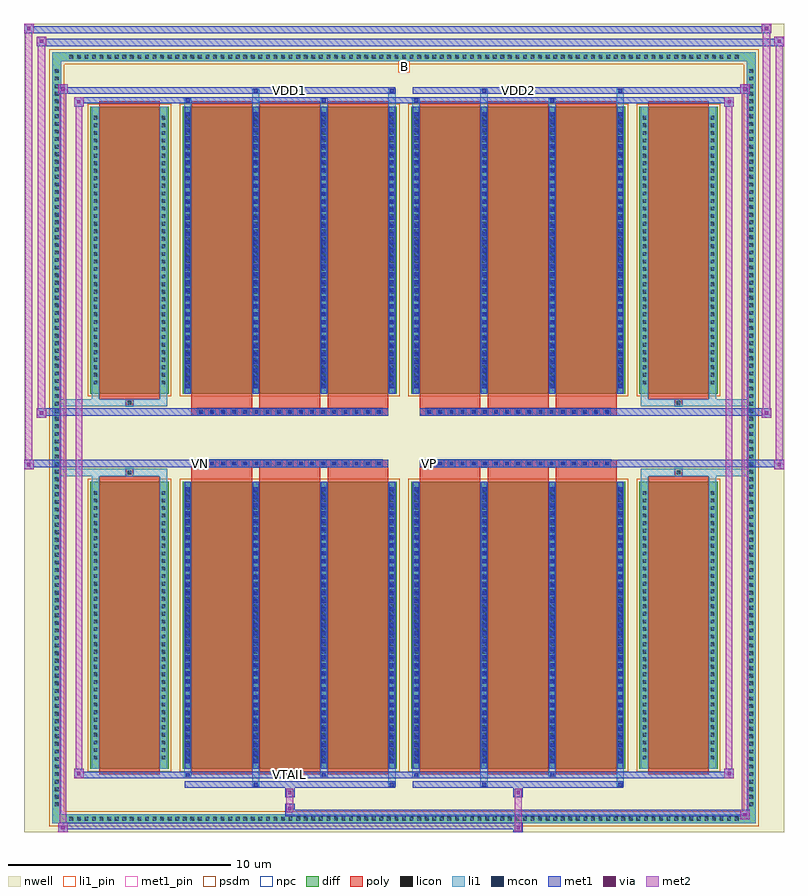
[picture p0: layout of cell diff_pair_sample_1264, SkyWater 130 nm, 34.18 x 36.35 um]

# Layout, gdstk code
import gdstk
lib = gdstk.Library(unit=1e-6, precision=5e-09)
def R(c, l, rs):  # rectangles x0, y0, x1, y1
    for r in rs: c.add(gdstk.rectangle(r[:2], r[2:], *l))
def A(c, l, x, y, w, h, nx, ny, dx, dy):  # array of equal rectangles
    R(c, l, [(x+i*dx, y+j*dy, x+i*dx+w, y+j*dy+h) for i in range(nx) for j in range(ny)])
def P(c, l, *ps):  # polygons
    for p in ps: c.add(gdstk.Polygon(p, *l))
nwell = (64, 20)
diff = (65, 20)
poly = (66, 20)
licon = (66, 44)
li1_pin = (67, 16)
li1 = (67, 20)
mcon = (67, 44)
met1_pin = (68, 16)
met1 = (68, 20)
via = (68, 44)
met2 = (69, 20)
psdm = (94, 20)
npc = (95, 20)

diff_pair_sample_1264 = lib.new_cell('diff_pair_sample_1264')
R(diff_pair_sample_1264, nwell, [(-17.09,-17.74,17.09,18.61), (-14.41,-15.93,-0.01,-0.795), (0.01,-15.93,14.41,-0.795), (-14.41,0.795,-0.01,15.93), (0.01,0.795,14.41,15.93)])
A(diff_pair_sample_1264, diff, -15.165, -17.34, 0.41, 0.41, 89, 2, 0.34, 34.27)
A(diff_pair_sample_1264, diff, -15.82, -16.695, 0.41, 0.41, 1, 98, 0, 0.34)
A(diff_pair_sample_1264, diff, 15.41, -16.695, 0.41, 0.41, 1, 98, 0, 0.34)
R(diff_pair_sample_1264, diff, [(-15.165,-17.34,15.165,-16.93), (-15.82,-16.695,-15.41,16.695), (15.41,-16.695,15.82,16.695), (-14.1,-14.885,-10.59,-1.985), (-9.95,-14.885,-0.32,-1.985), (0.32,-14.885,9.95,-1.985), (10.59,-14.885,14.1,-1.985), (-14.1,1.985,-10.59,14.885), (-9.95,1.985,-0.32,14.885), (0.32,1.985,9.95,14.885), (10.59,1.985,14.1,14.885), (-15.165,16.93,15.165,17.34)])
P(diff_pair_sample_1264, diff, [(15.82,17.34),(-15.82,17.34),(-15.82,-16.93),(-15.41,-16.93),(-15.41,16.93),(15.41,16.93),(15.41,-16.93),(-15.41,-16.93),(-15.82,-16.93),(-15.82,-17.34),(15.82,-17.34)])
A(diff_pair_sample_1264, poly, -9.56, -15.135, 2.73, 13.4, 3, 2, 3.06, 16.87)
A(diff_pair_sample_1264, poly, 0.71, -15.135, 2.73, 13.4, 3, 2, 3.06, 16.87)
A(diff_pair_sample_1264, poly, -9.56, -1.735, 2.73, 0.41, 3, 2, 3.06, 3.06)
A(diff_pair_sample_1264, poly, 0.71, -1.735, 2.73, 0.41, 3, 2, 3.06, 3.06)
A(diff_pair_sample_1264, poly, -9.3, -1.325, 0.33, 0.33, 17, 2, 0.5, 2.32)
A(diff_pair_sample_1264, poly, 0.97, -1.325, 0.33, 0.33, 17, 2, 0.5, 2.32)
R(diff_pair_sample_1264, poly, [(-13.71,-15.135,-10.98,-1.735), (10.98,-15.135,13.71,-1.735), (-12.51,-1.735,-12.18,-1.405), (-12.51,-1.735,-12.18,-1.405), (12.18,-1.735,12.51,-1.405), (12.18,-1.735,12.51,-1.405), (-9.56,-1.325,-0.71,-0.995), (0.71,-1.325,9.56,-0.995), (-9.56,0.995,-0.71,1.325), (0.71,0.995,9.56,1.325), (-12.51,1.405,-12.18,1.735), (-12.51,1.405,-12.18,1.735), (12.18,1.405,12.51,1.735), (12.18,1.405,12.51,1.735), (-13.71,1.735,-10.98,15.135), (10.98,1.735,13.71,15.135)])
A(diff_pair_sample_1264, licon, -15.045, -17.22, 0.17, 0.17, 89, 2, 0.34, 34.27)
A(diff_pair_sample_1264, licon, -15.7, -16.575, 0.17, 0.17, 1, 98, 0, 0.34)
A(diff_pair_sample_1264, licon, 15.53, -16.575, 0.17, 0.17, 1, 98, 0, 0.34)
A(diff_pair_sample_1264, licon, -13.96, -14.47, 0.17, 0.17, 1, 36, 0, 0.34)
A(diff_pair_sample_1264, licon, -10.9, -14.47, 0.17, 0.17, 1, 36, 0, 0.34)
A(diff_pair_sample_1264, licon, -9.81, -14.47, 0.17, 0.17, 4, 36, 3.06, 0.34)
A(diff_pair_sample_1264, licon, 0.46, -14.47, 0.17, 0.17, 4, 36, 3.06, 0.34)
A(diff_pair_sample_1264, licon, 10.73, -14.47, 0.17, 0.17, 1, 36, 0, 0.34)
A(diff_pair_sample_1264, licon, 13.79, -14.47, 0.17, 0.17, 1, 36, 0, 0.34)
A(diff_pair_sample_1264, licon, -9.22, -1.245, 0.17, 0.17, 17, 2, 0.5, 2.32)
A(diff_pair_sample_1264, licon, 1.05, -1.245, 0.17, 0.17, 17, 2, 0.5, 2.32)
A(diff_pair_sample_1264, licon, -13.96, 2.4, 0.17, 0.17, 1, 36, 0, 0.34)
A(diff_pair_sample_1264, licon, -10.9, 2.4, 0.17, 0.17, 1, 36, 0, 0.34)
A(diff_pair_sample_1264, licon, -9.81, 2.4, 0.17, 0.17, 4, 36, 3.06, 0.34)
A(diff_pair_sample_1264, licon, 0.46, 2.4, 0.17, 0.17, 4, 36, 3.06, 0.34)
A(diff_pair_sample_1264, licon, 10.73, 2.4, 0.17, 0.17, 1, 36, 0, 0.34)
A(diff_pair_sample_1264, licon, 13.79, 2.4, 0.17, 0.17, 1, 36, 0, 0.34)
R(diff_pair_sample_1264, licon, [(-12.43,-1.655,-12.26,-1.485), (12.26,-1.655,12.43,-1.485), (-12.43,1.485,-12.26,1.655), (12.26,1.485,12.43,1.655)])
R(diff_pair_sample_1264, li1_pin, [(-0.25,16.43,0.25,16.93)])
A(diff_pair_sample_1264, li1, -15.125, -17.3, 0.33, 0.33, 89, 2, 0.34, 34.27)
A(diff_pair_sample_1264, li1, -15.78, -16.655, 0.33, 0.33, 1, 98, 0, 0.34)
A(diff_pair_sample_1264, li1, 15.45, -16.655, 0.33, 0.33, 1, 98, 0, 0.34)
A(diff_pair_sample_1264, li1, -9.89, -14.885, 0.33, 12.9, 4, 2, 3.06, 16.87)
A(diff_pair_sample_1264, li1, 0.38, -14.885, 0.33, 12.9, 4, 2, 3.06, 16.87)
A(diff_pair_sample_1264, li1, -9.81, -14.64, 0.17, 0.17, 4, 35, 3.06, 0.36)
A(diff_pair_sample_1264, li1, -9.81, -14.64, 0.17, 12.41, 4, 2, 3.06, 16.87)
A(diff_pair_sample_1264, li1, 0.46, -14.64, 0.17, 0.17, 4, 35, 3.06, 0.36)
A(diff_pair_sample_1264, li1, 0.46, -14.64, 0.17, 12.41, 4, 2, 3.06, 16.87)
A(diff_pair_sample_1264, li1, -14.04, -14.55, 0.33, 0.33, 1, 36, 0, 0.34)
A(diff_pair_sample_1264, li1, -10.98, -14.55, 0.33, 0.33, 1, 36, 0, 0.34)
A(diff_pair_sample_1264, li1, -9.89, -14.55, 0.33, 0.33, 4, 36, 3.06, 0.34)
A(diff_pair_sample_1264, li1, 0.38, -14.55, 0.33, 0.33, 4, 36, 3.06, 0.34)
A(diff_pair_sample_1264, li1, 10.65, -14.55, 0.33, 0.33, 1, 36, 0, 0.34)
A(diff_pair_sample_1264, li1, 13.71, -14.55, 0.33, 0.33, 1, 36, 0, 0.34)
A(diff_pair_sample_1264, li1, -9.3, -1.325, 0.33, 0.33, 17, 2, 0.5, 2.32)
A(diff_pair_sample_1264, li1, 0.97, -1.325, 0.33, 0.33, 17, 2, 0.5, 2.32)
A(diff_pair_sample_1264, li1, -9.81, 2.23, 0.17, 0.17, 4, 35, 3.06, 0.36)
A(diff_pair_sample_1264, li1, 0.46, 2.23, 0.17, 0.17, 4, 35, 3.06, 0.36)
A(diff_pair_sample_1264, li1, -14.04, 2.32, 0.33, 0.33, 1, 36, 0, 0.34)
A(diff_pair_sample_1264, li1, -10.98, 2.32, 0.33, 0.33, 1, 36, 0, 0.34)
A(diff_pair_sample_1264, li1, -9.89, 2.32, 0.33, 0.33, 4, 36, 3.06, 0.34)
A(diff_pair_sample_1264, li1, 0.38, 2.32, 0.33, 0.33, 4, 36, 3.06, 0.34)
A(diff_pair_sample_1264, li1, 10.65, 2.32, 0.33, 0.33, 1, 36, 0, 0.34)
A(diff_pair_sample_1264, li1, 13.71, 2.32, 0.33, 0.33, 1, 36, 0, 0.34)
R(diff_pair_sample_1264, li1, [(-15.82,-17.34,-15.41,-16.93), (-15.82,-17.34,-15.41,-16.93), (-15.41,-17.34,15.41,-16.93), (15.41,-17.34,15.82,-16.93), (15.41,-17.34,15.82,-16.93), (-15.82,-16.93,-15.41,16.93), (15.41,-16.93,15.82,16.93), (-6.83,-15.69,-6.5,-14.885), (-6.75,-15.69,-6.58,-15.52), (-0.71,-15.69,-0.38,-14.885), (-0.63,-15.69,-0.46,-15.52), (3.44,-15.69,3.77,-14.885), (3.52,-15.69,3.69,-15.52), (9.56,-15.69,9.89,-14.885), (9.64,-15.69,9.81,-15.52), (-9.89,-15.26,-9.56,-14.885), (-9.81,-15.26,-9.64,-15.09), (-3.77,-15.26,-3.44,-14.885), (-3.69,-15.26,-3.52,-15.09), (0.38,-15.26,0.71,-14.885), (0.46,-15.26,0.63,-15.09), (6.5,-15.26,6.83,-14.885), (6.58,-15.26,6.75,-15.09), (-14.04,-14.885,-13.71,-1.985), (-10.98,-14.885,-10.65,-1.985), (10.65,-14.885,10.98,-1.985), (13.71,-14.885,14.04,-1.985), (-14.04,-1.985,-13.71,-1.405), (-10.98,-1.985,-10.65,-1.405), (10.65,-1.985,10.98,-1.405), (13.71,-1.985,14.04,-1.405), (-15.82,-1.735,-12.51,-1.405), (-14.04,-1.735,-12.51,-1.405), (-12.51,-1.735,-12.18,-1.405), (-12.18,-1.735,-10.65,-1.405), (10.65,-1.735,12.18,-1.405), (12.18,-1.735,12.51,-1.405), (12.18,-1.735,15.82,-1.405), (12.51,-1.735,14.04,-1.405), (-15.82,1.405,-12.51,1.735), (-14.04,1.405,-12.51,1.735), (-14.04,1.405,-13.71,1.985), (-12.51,1.405,-12.18,1.735), (-12.18,1.405,-10.65,1.735), (-10.98,1.405,-10.65,1.985), (10.65,1.405,12.18,1.735), (10.65,1.405,10.98,1.985), (12.18,1.405,12.51,1.735), (12.18,1.405,15.82,1.735), (12.51,1.405,14.04,1.735), (13.71,1.405,14.04,1.985), (-14.04,1.985,-13.71,14.885), (-10.98,1.985,-10.65,14.885), (10.65,1.985,10.98,14.885), (13.71,1.985,14.04,14.885), (-9.89,14.885,-9.56,15.26), (-6.83,14.885,-6.5,15.69), (-3.77,14.885,-3.44,15.26), (-0.71,14.885,-0.38,15.69), (0.38,14.885,0.71,15.26), (3.44,14.885,3.77,15.69), (6.5,14.885,6.83,15.26), (9.56,14.885,9.89,15.69), (-9.81,15.09,-9.64,15.26), (-3.69,15.09,-3.52,15.26), (0.46,15.09,0.63,15.26), (6.58,15.09,6.75,15.26), (-6.75,15.52,-6.58,15.69), (-0.63,15.52,-0.46,15.69), (3.52,15.52,3.69,15.69), (9.64,15.52,9.81,15.69), (-15.82,16.93,-15.41,17.34), (-15.82,16.93,-15.41,17.34), (-15.41,16.93,15.41,17.34), (15.41,16.93,15.82,17.34), (15.41,16.93,15.82,17.34)])
A(diff_pair_sample_1264, mcon, -9.81, -14.64, 0.17, 0.17, 4, 35, 3.06, 0.36)
A(diff_pair_sample_1264, mcon, 0.46, -14.64, 0.17, 0.17, 4, 35, 3.06, 0.36)
A(diff_pair_sample_1264, mcon, -9.22, -1.245, 0.17, 0.17, 17, 2, 0.5, 2.32)
A(diff_pair_sample_1264, mcon, 1.05, -1.245, 0.17, 0.17, 17, 2, 0.5, 2.32)
A(diff_pair_sample_1264, mcon, -9.81, 2.23, 0.17, 0.17, 4, 35, 3.06, 0.36)
A(diff_pair_sample_1264, mcon, 0.46, 2.23, 0.17, 0.17, 4, 35, 3.06, 0.36)
R(diff_pair_sample_1264, mcon, [(-6.75,-15.69,-6.58,-15.52), (-0.63,-15.69,-0.46,-15.52), (3.52,-15.69,3.69,-15.52), (9.64,-15.69,9.81,-15.52), (-9.81,-15.26,-9.64,-15.09), (-3.69,-15.26,-3.52,-15.09), (0.46,-15.26,0.63,-15.09), (6.58,-15.26,6.75,-15.09), (-9.81,15.09,-9.64,15.26), (-3.69,15.09,-3.52,15.26), (0.46,15.09,0.63,15.26), (6.58,15.09,6.75,15.26), (-6.75,15.52,-6.58,15.69), (-0.63,15.52,-0.46,15.69), (3.52,15.52,3.69,15.69), (9.64,15.52,9.81,15.69)])
R(diff_pair_sample_1264, met1_pin, [(-5.27,-15.3,-5,-15.03), (-9.27,-1.285,-9,-1.015), (1,-1.285,1.27,-1.015), (-5.27,15.48,-5,15.75), (5,15.48,5.27,15.75)])
A(diff_pair_sample_1264, met1, -9.87, -14.885, 0.29, 12.9, 4, 2, 3.06, 16.87)
A(diff_pair_sample_1264, met1, 0.4, -14.885, 0.29, 12.9, 4, 2, 3.06, 16.87)
A(diff_pair_sample_1264, met1, -9.87, -14.7, 0.29, 0.29, 4, 35, 3.06, 0.36)
A(diff_pair_sample_1264, met1, 0.4, -14.7, 0.29, 0.29, 4, 35, 3.06, 0.36)
A(diff_pair_sample_1264, met1, -9.28, -1.305, 0.29, 0.29, 17, 2, 0.5, 2.32)
A(diff_pair_sample_1264, met1, 0.99, -1.305, 0.29, 0.29, 17, 2, 0.5, 2.32)
A(diff_pair_sample_1264, met1, -9.87, 2.17, 0.29, 0.29, 4, 35, 3.06, 0.36)
A(diff_pair_sample_1264, met1, 0.4, 2.17, 0.29, 0.29, 4, 35, 3.06, 0.36)
R(diff_pair_sample_1264, met1, [(-15.55,-17.74,-15.12,-17.31), (4.92,-17.74,5.35,-17.31), (-15.55,-17.6,5.35,-17.31), (15.12,-17.17,15.55,-16.74), (-5.35,-17.03,15.55,-16.74), (-5.35,-16.89,-4.92,-16.46), (-5.35,-16.18,-4.92,-15.75), (4.92,-16.18,5.35,-15.75), (-9.87,-15.75,-0.4,-15.46), (-6.81,-15.75,-6.52,-15.46), (-0.69,-15.75,-0.4,-15.46), (0.4,-15.75,9.87,-15.46), (3.46,-15.75,3.75,-15.46), (9.58,-15.75,9.87,-15.46), (-14.84,-15.32,-14.41,-14.89), (-14.84,-15.32,-9.87,-15.03), (-9.87,-15.32,-9.58,-15.03), (-9.87,-15.32,-0.4,-15.03), (-3.75,-15.32,-3.46,-15.03), (-0.4,-15.32,0.4,-15.03), (0.4,-15.32,0.69,-15.03), (0.4,-15.32,9.87,-15.03), (6.52,-15.32,6.81,-15.03), (9.87,-15.32,14.84,-15.03), (14.41,-15.32,14.84,-14.89), (-17.09,-1.425,-16.66,-0.995), (16.66,-1.425,17.09,-0.995), (-17.09,-1.325,-0.71,-0.995), (-9.56,-1.325,-0.71,-0.995), (0.71,-1.325,9.56,-0.995), (0.71,-1.325,17.09,-0.995), (-16.52,0.895,-16.09,1.325), (16.09,0.895,16.52,1.325), (-16.52,0.995,-9.56,1.325), (-9.56,0.995,-0.71,1.325), (0.71,0.995,9.56,1.325), (9.56,0.995,16.52,1.325), (-14.84,14.89,-14.41,15.32), (14.41,14.89,14.84,15.32), (-14.84,15.03,-9.87,15.32), (-9.87,15.03,-9.58,15.32), (-9.87,15.03,-0.4,15.32), (-3.75,15.03,-3.46,15.32), (-0.4,15.03,0.4,15.32), (0.4,15.03,0.69,15.32), (0.4,15.03,9.87,15.32), (6.52,15.03,6.81,15.32), (9.87,15.03,14.84,15.32), (-15.55,15.46,-15.12,15.89), (-15.55,15.46,-9.87,15.75), (-9.87,15.46,-0.4,15.75), (-6.81,15.46,-6.52,15.75), (-0.69,15.46,-0.4,15.75), (0.4,15.46,9.87,15.75), (3.46,15.46,3.75,15.75), (9.58,15.46,9.87,15.75), (9.87,15.46,15.55,15.75), (15.12,15.46,15.55,15.89), (-16.52,17.61,-16.09,18.04), (-16.52,17.61,-14.41,17.94), (-14.41,17.61,14.41,17.94), (14.41,17.61,17.09,17.94), (16.66,17.61,17.09,18.04), (-17.09,18.18,-16.66,18.61), (-17.09,18.18,-14.41,18.51), (-14.41,18.18,14.41,18.51), (14.41,18.18,16.52,18.51), (16.09,18.18,16.52,18.61)])
R(diff_pair_sample_1264, via, [(-15.41,-17.6,-15.26,-17.45), (5.06,-17.6,5.21,-17.45), (15.26,-17.03,15.41,-16.88), (-5.21,-16.75,-5.06,-16.6), (-5.21,-16.04,-5.06,-15.89), (5.06,-16.04,5.21,-15.89), (-14.7,-15.18,-14.55,-15.03), (14.55,-15.18,14.7,-15.03), (-16.95,-1.285,-16.8,-1.135), (16.8,-1.285,16.95,-1.135), (-16.38,1.035,-16.23,1.185), (16.23,1.035,16.38,1.185), (-14.7,15.03,-14.55,15.18), (14.55,15.03,14.7,15.18), (-15.41,15.6,-15.26,15.75), (15.26,15.6,15.41,15.75), (-16.38,17.75,-16.23,17.9), (16.8,17.75,16.95,17.9), (-16.95,18.32,-16.8,18.47), (16.23,18.32,16.38,18.47)])
R(diff_pair_sample_1264, met2, [(-15.55,-17.74,-15.12,-17.31), (-15.48,-17.74,-15.19,15.89), (-15.19,-17.74,-15.12,-17.31), (-15.5,-17.69,-15.17,-17.36), (4.97,-17.69,5.3,-17.36), (4.97,-17.36,5.3,-16.13), (15.12,-17.17,15.55,-16.74), (15.19,-17.17,15.48,15.89), (15.48,-17.17,15.55,-16.74), (15.17,-17.12,15.5,-16.79), (-5.3,-16.84,-4.97,-16.51), (-5.3,-16.51,-4.97,-16.13), (-5.3,-16.13,-4.97,-15.8), (4.97,-16.13,5.3,-15.8), (-14.84,-15.32,-14.41,-14.89), (-14.77,-15.32,-14.48,15.32), (-14.48,-15.32,-14.41,-14.89), (14.41,-15.32,14.84,-14.89), (14.48,-15.32,14.77,15.32), (14.77,-15.32,14.84,-14.89), (-14.79,-15.27,-14.46,-14.94), (14.46,-15.27,14.79,-14.94), (-17.09,-1.425,-16.66,-0.995), (-17.04,-1.425,-16.71,18.61), (-16.71,-1.425,-16.66,-0.995), (16.66,-1.425,17.09,-0.995), (16.71,-1.425,17.04,18.04), (17.04,-1.425,17.09,-0.995), (-17.04,-1.375,-16.71,-1.045), (16.71,-1.375,17.04,-1.045), (-16.52,0.895,-16.09,1.325), (-16.47,0.895,-16.14,18.04), (-16.14,0.895,-16.09,1.325), (16.09,0.895,16.52,1.325), (16.14,0.895,16.47,18.61), (16.47,0.895,16.52,1.325), (-16.47,0.945,-16.14,1.275), (16.14,0.945,16.47,1.275), (-14.84,14.89,-14.41,15.32), (-14.48,14.89,-14.41,15.32), (14.41,14.89,14.84,15.32), (14.77,14.89,14.84,15.32), (-14.79,14.94,-14.46,15.27), (14.46,14.94,14.79,15.27), (-15.55,15.46,-15.12,15.89), (-15.19,15.46,-15.12,15.89), (15.12,15.46,15.55,15.89), (15.48,15.46,15.55,15.89), (-15.5,15.51,-15.17,15.84), (15.17,15.51,15.5,15.84), (-16.52,17.61,-16.09,18.04), (-16.14,17.61,-16.09,18.04), (16.66,17.61,17.09,18.04), (17.04,17.61,17.09,18.04), (-16.47,17.66,-16.14,17.99), (16.71,17.66,17.04,17.99), (-17.09,18.18,-16.66,18.61), (-16.71,18.18,-16.66,18.61), (16.09,18.18,16.52,18.61), (16.47,18.18,16.52,18.61), (-17.04,18.23,-16.71,18.56), (16.14,18.23,16.47,18.56)])
R(diff_pair_sample_1264, psdm, [(-14.23,-15.015,-10.46,-1.855), (-10.08,-15.015,-0.19,-1.855), (0.19,-15.015,10.08,-1.855), (10.46,-15.015,14.23,-1.855), (-14.23,1.855,-10.46,15.015), (-10.08,1.855,-0.19,15.015), (0.19,1.855,10.08,15.015), (10.46,1.855,14.23,15.015)])
P(diff_pair_sample_1264, psdm, [(15.95,17.47),(-15.95,17.47),(-15.95,-16.8),(-15.28,-16.8),(-15.28,16.8),(15.28,16.8),(15.28,-16.8),(-15.28,-16.8),(-15.95,-16.8),(-15.95,-17.47),(15.95,-17.47)])
A(diff_pair_sample_1264, npc, -9.32, -1.345, 0.37, 0.37, 17, 2, 0.5, 2.32)
A(diff_pair_sample_1264, npc, 0.95, -1.345, 0.37, 0.37, 17, 2, 0.5, 2.32)
R(diff_pair_sample_1264, npc, [(-12.53,-1.755,-12.16,-1.385), (12.16,-1.755,12.53,-1.385), (-9.32,-1.345,-8.45,-0.975), (-9.32,-1.345,-8.45,-0.975), (-8.82,-1.345,-7.95,-0.975), (-8.82,-1.345,-7.95,-0.975), (-8.32,-1.345,-7.45,-0.975), (-8.32,-1.345,-7.45,-0.975), (-7.82,-1.345,-6.95,-0.975), (-7.82,-1.345,-6.95,-0.975), (-7.32,-1.345,-6.45,-0.975), (-7.32,-1.345,-6.45,-0.975), (-6.82,-1.345,-5.95,-0.975), (-6.82,-1.345,-5.95,-0.975), (-6.32,-1.345,-5.45,-0.975), (-6.32,-1.345,-5.45,-0.975), (-5.82,-1.345,-4.95,-0.975), (-5.82,-1.345,-4.95,-0.975), (-5.32,-1.345,-4.45,-0.975), (-5.32,-1.345,-4.45,-0.975), (-4.82,-1.345,-3.95,-0.975), (-4.82,-1.345,-3.95,-0.975), (-4.32,-1.345,-3.45,-0.975), (-4.32,-1.345,-3.45,-0.975), (-3.82,-1.345,-2.95,-0.975), (-3.82,-1.345,-2.95,-0.975), (-3.32,-1.345,-2.45,-0.975), (-3.32,-1.345,-2.45,-0.975), (-2.82,-1.345,-1.95,-0.975), (-2.82,-1.345,-1.95,-0.975), (-2.32,-1.345,-1.45,-0.975), (-2.32,-1.345,-1.45,-0.975), (-1.82,-1.345,-0.95,-0.975), (-1.82,-1.345,-0.95,-0.975), (0.95,-1.345,1.82,-0.975), (0.95,-1.345,1.82,-0.975), (1.45,-1.345,2.32,-0.975), (1.45,-1.345,2.32,-0.975), (1.95,-1.345,2.82,-0.975), (1.95,-1.345,2.82,-0.975), (2.45,-1.345,3.32,-0.975), (2.45,-1.345,3.32,-0.975), (2.95,-1.345,3.82,-0.975), (2.95,-1.345,3.82,-0.975), (3.45,-1.345,4.32,-0.975), (3.45,-1.345,4.32,-0.975), (3.95,-1.345,4.82,-0.975), (3.95,-1.345,4.82,-0.975), (4.45,-1.345,5.32,-0.975), (4.45,-1.345,5.32,-0.975), (4.95,-1.345,5.82,-0.975), (4.95,-1.345,5.82,-0.975), (5.45,-1.345,6.32,-0.975), (5.45,-1.345,6.32,-0.975), (5.95,-1.345,6.82,-0.975), (5.95,-1.345,6.82,-0.975), (6.45,-1.345,7.32,-0.975), (6.45,-1.345,7.32,-0.975), (6.95,-1.345,7.82,-0.975), (6.95,-1.345,7.82,-0.975), (7.45,-1.345,8.32,-0.975), (7.45,-1.345,8.32,-0.975), (7.95,-1.345,8.82,-0.975), (7.95,-1.345,8.82,-0.975), (8.45,-1.345,9.32,-0.975), (8.45,-1.345,9.32,-0.975), (-9.32,0.975,-8.45,1.345), (-9.32,0.975,-8.45,1.345), (-8.82,0.975,-7.95,1.345), (-8.82,0.975,-7.95,1.345), (-8.32,0.975,-7.45,1.345), (-8.32,0.975,-7.45,1.345), (-7.82,0.975,-6.95,1.345), (-7.82,0.975,-6.95,1.345), (-7.32,0.975,-6.45,1.345), (-7.32,0.975,-6.45,1.345), (-6.82,0.975,-5.95,1.345), (-6.82,0.975,-5.95,1.345), (-6.32,0.975,-5.45,1.345), (-6.32,0.975,-5.45,1.345), (-5.82,0.975,-4.95,1.345), (-5.82,0.975,-4.95,1.345), (-5.32,0.975,-4.45,1.345), (-5.32,0.975,-4.45,1.345), (-4.82,0.975,-3.95,1.345), (-4.82,0.975,-3.95,1.345), (-4.32,0.975,-3.45,1.345), (-4.32,0.975,-3.45,1.345), (-3.82,0.975,-2.95,1.345), (-3.82,0.975,-2.95,1.345), (-3.32,0.975,-2.45,1.345), (-3.32,0.975,-2.45,1.345), (-2.82,0.975,-1.95,1.345), (-2.82,0.975,-1.95,1.345), (-2.32,0.975,-1.45,1.345), (-2.32,0.975,-1.45,1.345), (-1.82,0.975,-0.95,1.345), (-1.82,0.975,-0.95,1.345), (0.95,0.975,1.82,1.345), (0.95,0.975,1.82,1.345), (1.45,0.975,2.32,1.345), (1.45,0.975,2.32,1.345), (1.95,0.975,2.82,1.345), (1.95,0.975,2.82,1.345), (2.45,0.975,3.32,1.345), (2.45,0.975,3.32,1.345), (2.95,0.975,3.82,1.345), (2.95,0.975,3.82,1.345), (3.45,0.975,4.32,1.345), (3.45,0.975,4.32,1.345), (3.95,0.975,4.82,1.345), (3.95,0.975,4.82,1.345), (4.45,0.975,5.32,1.345), (4.45,0.975,5.32,1.345), (4.95,0.975,5.82,1.345), (4.95,0.975,5.82,1.345), (5.45,0.975,6.32,1.345), (5.45,0.975,6.32,1.345), (5.95,0.975,6.82,1.345), (5.95,0.975,6.82,1.345), (6.45,0.975,7.32,1.345), (6.45,0.975,7.32,1.345), (6.95,0.975,7.82,1.345), (6.95,0.975,7.82,1.345), (7.45,0.975,8.32,1.345), (7.45,0.975,8.32,1.345), (7.95,0.975,8.82,1.345), (7.95,0.975,8.82,1.345), (8.45,0.975,9.32,1.345), (8.45,0.975,9.32,1.345), (-12.53,1.385,-12.16,1.755), (12.16,1.385,12.53,1.755)])
diff_pair_sample_1264.add(gdstk.Label('VTAIL', (-5.135,-15.165), layer=68, texttype=5))
diff_pair_sample_1264.add(gdstk.Label('VN', (-9.135,-1.15), layer=68, texttype=5))
diff_pair_sample_1264.add(gdstk.Label('VP', (1.135,-1.15), layer=68, texttype=5))
diff_pair_sample_1264.add(gdstk.Label('B', (0,16.68), layer=67, texttype=5))
diff_pair_sample_1264.add(gdstk.Label('VDD2', (5.135,15.615), layer=68, texttype=5))
diff_pair_sample_1264.add(gdstk.Label('VDD1', (-5.135,15.615), layer=68, texttype=5))

lib.write_gds('diff_pair_sample_1264.gds')
